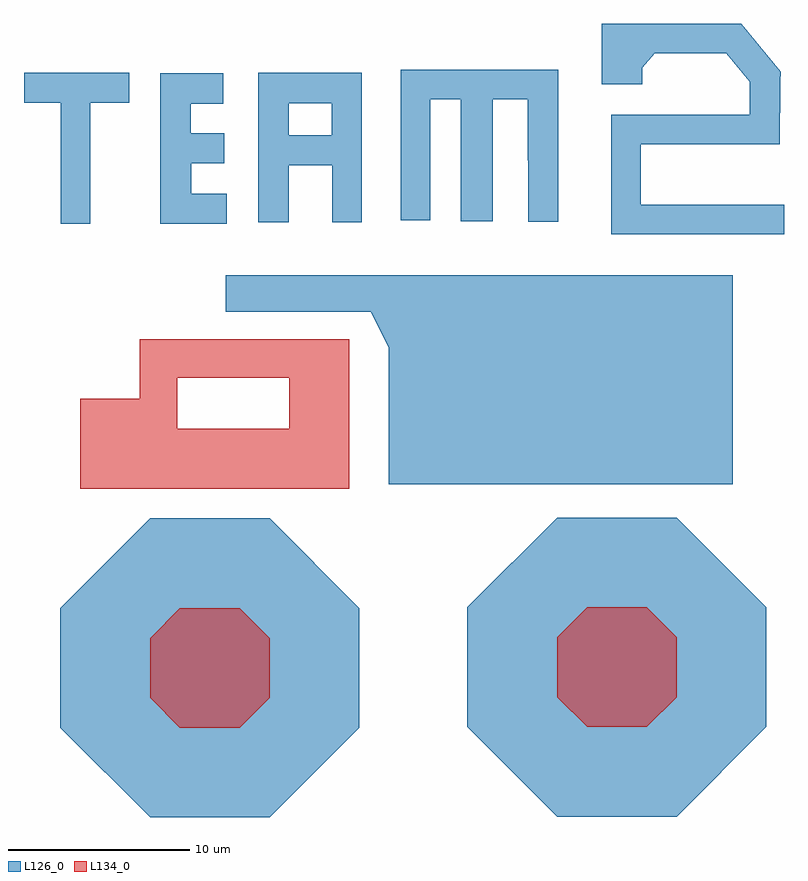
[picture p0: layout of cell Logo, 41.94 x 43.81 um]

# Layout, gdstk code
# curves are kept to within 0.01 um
import gdstk
lib = gdstk.Library(unit=1e-6, precision=1e-09)
def P(c, l, *ps):  # polygons
    for p in ps: c.add(gdstk.Polygon(p, *l))
L126_0 = (126, 0)
L134_0 = (134, 0)

logo = lib.new_cell('Logo')
P(logo, L126_0, [(0.74,-8.425),(0.74,-0.895),(-0.26,1.105),(-8.26,1.105),(-8.26,3.105),(19.74,3.105),(19.74,-8.425)],
  [(-12.435,-26.81),(-17.385,-21.86),(-17.385,-15.26),(-12.435,-10.31),(-5.835,-10.31),(-0.885,-15.26),(-0.885,-21.86),(-5.835,-26.81)],
  [(10.035,-26.765),(5.085,-21.815),(5.085,-15.215),(10.035,-10.265),(16.635,-10.265),(21.585,-15.215),(21.585,-21.815),(16.635,-26.765)],
  [(-17.37,5.96),(-17.37,12.645),(-19.39,12.645),(-19.39,14.285),(-13.57,14.285),(-13.57,12.645),(-15.73,12.645),(-15.73,5.96)],
  [(-11.858,5.965),(-11.858,14.255),(-8.388,14.255),(-8.388,12.585),(-10.18,12.585),(-10.18,10.94),(-8.328,10.94),(-8.328,9.3),(-10.153,9.3),(-10.153,7.62),(-8.193,7.62),(-8.193,5.965)],
  [(-6.463,6.04),(-6.463,12.62),(-4.775,12.62),(-4.775,10.84),(-2.415,10.84),(-2.415,12.62),(-6.463,12.62),(-6.463,14.28),(-0.738,14.28),(-0.738,6.045),(-2.378,6.045),(-2.378,9.195),(-4.768,9.195),(-4.768,6.04)],
  [(8.445,6.073),(8.418,12.823),(6.48,12.823),(6.48,6.088),(4.725,6.088),(4.725,12.828),(3.04,12.828),(3.04,6.138),(1.4,6.138),(1.4,14.468),(10.085,14.468),(10.085,6.073)],
  [(13.01,5.37),(13.01,11.98),(20.66,11.98),(20.66,13.78),(19.375,15.365),(15.429,15.365),(14.73,14.578),(14.73,13.65),(12.51,13.65),(12.51,17.005),(20.185,17.005),(22.37,14.34),(22.34,13.825),(22.327,10.34),(14.65,10.34),(14.65,7.01),(22.555,7.01),(22.555,5.37)])
P(logo, L134_0, [(-10.785,-21.86),(-12.435,-20.21),(-12.435,-16.91),(-10.785,-15.26),(-7.485,-15.26),(-5.835,-16.91),(-5.835,-20.21),(-7.485,-21.86)],
  [(11.685,-21.815),(10.035,-20.165),(10.035,-16.865),(11.685,-15.215),(14.985,-15.215),(16.635,-16.865),(16.635,-20.165),(14.985,-21.815)],
  [(-16.29,-8.665),(-16.29,-3.715),(-12.99,-3.715),(-12.99,-2.555),(-10.92,-2.555),(-10.92,-5.365),(-4.74,-5.365),(-4.74,-2.555),(-12.99,-2.555),(-12.99,-0.415),(-1.44,-0.415),(-1.44,-8.665)])

lib.write_gds('Logo.gds')
